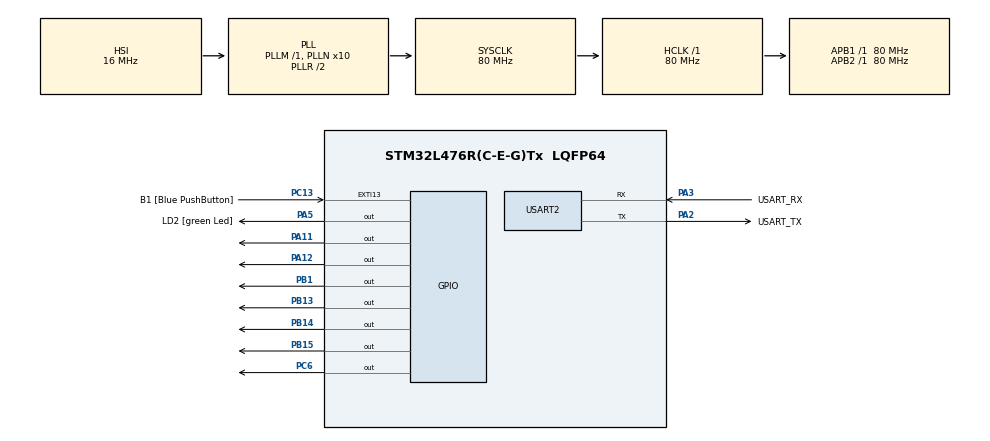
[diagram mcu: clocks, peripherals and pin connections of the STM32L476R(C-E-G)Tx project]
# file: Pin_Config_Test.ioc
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Mcu.Family=STM32L4
Mcu.Name=STM32L476R(C-E-G)Tx
Mcu.Package=LQFP64
NVIC.PriorityGroup=NVIC_PRIORITYGROUP_4
PA11.Signal=GPIO_Output
PA12.Signal=GPIO_Output
PA13\ (JTMS-SWDIO).GPIO_Label=TMS
PA13\ (JTMS-SWDIO).Mode=Serial_Wire
PA13\ (JTMS-SWDIO).Signal=SYS_JTMS-SWDIO
PA14\ (JTCK-SWCLK).GPIO_Label=TCK
PA14\ (JTCK-SWCLK).Mode=Serial_Wire
PA14\ (JTCK-SWCLK).Signal=SYS_JTCK-SWCLK
PA2.GPIO_Label=USART_TX
PA2.GPIO_Mode=GPIO_MODE_AF_PP
PA2.GPIO_PuPd=GPIO_NOPULL
PA2.GPIO_Speed=GPIO_SPEED_FREQ_VERY_HIGH
PA2.Mode=Asynchronous
PA2.Signal=USART2_TX
PA3.GPIO_Label=USART_RX
PA3.GPIO_Mode=GPIO_MODE_AF_PP
PA3.GPIO_PuPd=GPIO_NOPULL
PA3.GPIO_Speed=GPIO_SPEED_FREQ_VERY_HIGH
PA3.Mode=Asynchronous
PA3.Signal=USART2_RX
PA5.GPIO_Label=LD2 [green Led]
PA5.GPIO_ModeDefaultOutputPP=GPIO_MODE_OUTPUT_PP
PA5.GPIO_PuPd=GPIO_NOPULL
PA5.GPIO_Speed=GPIO_SPEED_FREQ_LOW
PA5.Signal=GPIO_Output
PB1.Signal=GPIO_Output
PB13.Signal=GPIO_Output
PB14.Signal=GPIO_Output
PB15.Signal=GPIO_Output
PB3\ (JTDO-TRACESWO).GPIO_Label=SWO
PB3\ (JTDO-TRACESWO).Signal=SYS_JTDO-SWO
PC13.GPIO_Label=B1 [Blue PushButton]
PC13.GPIO_ModeDefaultEXTI=GPIO_MODE_IT_FALLING
PC13.GPIO_PuPd=GPIO_NOPULL
PC13.Signal=GPXTI13
PC14-OSC32_IN\ (PC14).Mode=LSE-External-Oscillator
PC14-OSC32_IN\ (PC14).Signal=RCC_OSC32_IN
PC15-OSC32_OUT\ (PC15).Mode=LSE-External-Oscillator
PC15-OSC32_OUT\ (PC15).Signal=RCC_OSC32_OUT
PC6.Signal=GPIO_Output
PH0-OSC_IN\ (PH0).Signal=RCC_OSC_IN
PH1-OSC_OUT\ (PH1).Signal=RCC_OSC_OUT
ProjectManager.HeapSize=0x200
ProjectManager.StackSize=0x400
ProjectManager.TargetToolchain=STM32CubeIDE
RCC.ADCFreq_Value=64000000
RCC.AHBFreq_Value=80000000
RCC.APB1Freq_Value=80000000
RCC.APB1TimFreq_Value=80000000
RCC.APB2Freq_Value=80000000
RCC.APB2TimFreq_Value=80000000
RCC.CortexFreq_Value=80000000
RCC.HCLKFreq_Value=80000000
RCC.HSE_VALUE=8000000
RCC.HSI_VALUE=16000000
RCC.MSI_VALUE=4000000
RCC.PLLN=10
RCC.PLLSourceVirtual=RCC_PLLSOURCE_HSI
RCC.PREFETCH_ENABLE=1
RCC.SYSCLKFreq_VALUE=80000000
RCC.SYSCLKSource=RCC_SYSCLKSOURCE_PLLCLK
RCC.USBFreq_Value=64000000
RCC.VCOOutputFreq_Value=160000000
USART2.VirtualMode-Asynchronous=VM_ASYNC
board=NUCLEO-L476RG

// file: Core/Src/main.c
/* USER CODE BEGIN Header */
/**
  ******************************************************************************
  * @file           : main.c
  * @brief          : GPIO toggling for 250ms high/low signal
  ******************************************************************************
  */
/* USER CODE END Header */
#include "main.h"

/* USER CODE BEGIN Includes */
#include <stdio.h>
/* USER CODE END Includes */

UART_HandleTypeDef huart2;

/* USER CODE BEGIN PV */
/* Array of GPIO ports and pins to toggle */
typedef struct {
  GPIO_TypeDef* Port;
  uint16_t Pin;
  char* Name;
} GPIO_Def;

GPIO_Def gpio_list[] = {
  {GPIOA, GPIO_PIN_0, "PA0"},
  {GPIOA, GPIO_PIN_1, "PA1"},
  {GPIOA, GPIO_PIN_2, "PA2"},
  {GPIOA, GPIO_PIN_3, "PA3"},
  {GPIOB, GPIO_PIN_0, "PB0"},
  {GPIOC, GPIO_PIN_0, "PC0"},
  {GPIOC, GPIO_PIN_1, "PC1"},
  {GPIOC, GPIO_PIN_2, "PC2"},
  {GPIOC, GPIO_PIN_3, "PC3"}
};

const uint32_t gpio_count = sizeof(gpio_list) / sizeof(GPIO_Def);
/* USER CODE END PV */

void SystemClock_Config(void);
static void MX_GPIO_Init(void);
static void MX_USART2_UART_Init(void);
/* USER CODE BEGIN PFP */
void ToggleGPIO(void);
/* USER CODE END PFP */

int main(void)
{

  /* USER CODE BEGIN 1 */

	int delayTimeOn = 2000;
	int delayTimeOff = 2000;
  /* USER CODE END 1 */

  /* MCU Configuration--------------------------------------------------------*/

  /* Reset of all peripherals, Initializes the Flash interface and the Systick. */
  HAL_Init();

  /* Configure the system clock */
  SystemClock_Config();

  /* Initialize all configured peripherals */
  MX_GPIO_Init();
  MX_USART2_UART_Init();

  /* Infinite loop */
  while (1)
  {
	  /* 控制 PA11 */
	          HAL_GPIO_WritePin(GPIOA, GPIO_PIN_11, GPIO_PIN_SET); // PA11 高电平
	          HAL_UART_Transmit(&huart2, (uint8_t *)"PA11 HIGH\r\n", 12, HAL_MAX_DELAY); // USART 发送状态
	          HAL_Delay(delayTimeOn);
	          HAL_GPIO_WritePin(GPIOA, GPIO_PIN_11, GPIO_PIN_RESET); // PA11 低电平
	          HAL_UART_Transmit(&huart2, (uint8_t *)"PA11 LOW\r\n\n", 11, HAL_MAX_DELAY); // USART 发送状态
	          HAL_Delay(delayTimeOff);

	          /* 控制 PA12 */
	          HAL_GPIO_WritePin(GPIOA, GPIO_PIN_12, GPIO_PIN_SET); // PA12 高电平
	          HAL_UART_Transmit(&huart2, (uint8_t *)"PA12 HIGH\r\n", 12, HAL_MAX_DELAY); // USART 发送状态
	          HAL_Delay(delayTimeOn);
	          HAL_GPIO_WritePin(GPIOA, GPIO_PIN_12, GPIO_PIN_RESET); // PA12 低电平
	          HAL_UART_Transmit(&huart2, (uint8_t *)"PA12 LOW\r\n\n", 11, HAL_MAX_DELAY); // USART 发送状态
	          HAL_Delay(delayTimeOff);

	          /* 控制 PC6 */
	          HAL_GPIO_WritePin(GPIOB, GPIO_PIN_1, GPIO_PIN_SET); // PC6 高电平
	          HAL_UART_Transmit(&huart2, (uint8_t *)"PB1 HIGH\r\n", 11, HAL_MAX_DELAY); // USART 发送状态
	          HAL_Delay(delayTimeOn);
	          HAL_GPIO_WritePin(GPIOB, GPIO_PIN_1, GPIO_PIN_RESET); // PC6 低电平
	          HAL_UART_Transmit(&huart2, (uint8_t *)"PB1 LOW\r\n\n", 10, HAL_MAX_DELAY); // USART 发送状态
	          HAL_Delay(delayTimeOff);

	          /* 控制 PB13 */
	          HAL_GPIO_WritePin(GPIOB, GPIO_PIN_13, GPIO_PIN_SET); // PB13 高电平
	          HAL_UART_Transmit(&huart2, (uint8_t *)"PB13 HIGH\r\n", 12, HAL_MAX_DELAY); // USART 发送状态
	          HAL_Delay(delayTimeOn);
	          HAL_GPIO_WritePin(GPIOB, GPIO_PIN_13, GPIO_PIN_RESET); // PB13 低电平
	          HAL_UART_Transmit(&huart2, (uint8_t *)"PB13 LOW\r\n\n", 11, HAL_MAX_DELAY); // USART 发送状态
	          HAL_Delay(delayTimeOff);

	          /* 控制 PB14 */
	          HAL_GPIO_WritePin(GPIOB, GPIO_PIN_14, GPIO_PIN_SET); // PB14 高电平
	          HAL_UART_Transmit(&huart2, (uint8_t *)"PB14 HIGH\r\n", 12, HAL_MAX_DELAY); // USART 发送状态
	          HAL_Delay(delayTimeOn);
	          HAL_GPIO_WritePin(GPIOB, GPIO_PIN_14, GPIO_PIN_RESET); // PB14 低电平
	          HAL_UART_Transmit(&huart2, (uint8_t *)"PB14 LOW\r\n\n", 11, HAL_MAX_DELAY); // USART 发送状态
	          HAL_Delay(delayTimeOff);

	          /* 控制 PB15 */
	          HAL_GPIO_WritePin(GPIOB, GPIO_PIN_15, GPIO_PIN_SET); // PB15 高电平
	          HAL_UART_Transmit(&huart2, (uint8_t *)"PB15 HIGH\r\n", 12, HAL_MAX_DELAY); // USART 发送状态
	          HAL_Delay(delayTimeOn);
	          HAL_GPIO_WritePin(GPIOB, GPIO_PIN_15, GPIO_PIN_RESET); // PB15 低电平
	          HAL_UART_Transmit(&huart2, (uint8_t *)"PB15 LOW\r\n\n", 11, HAL_MAX_DELAY); // USART 发送状态
	          HAL_Delay(delayTimeOff);
  }
}

void SystemClock_Config(void)
{
  RCC_OscInitTypeDef RCC_OscInitStruct = {0};
  RCC_ClkInitTypeDef RCC_ClkInitStruct = {0};

  /** Configure the main internal regulator output voltage
  */
  if (HAL_PWREx_ControlVoltageScaling(PWR_REGULATOR_VOLTAGE_SCALE1) != HAL_OK)
  {
    Error_Handler();
  }

  /** Initializes the RCC Oscillators according to the specified parameters
  * in the RCC_OscInitTypeDef structure.
  */
  RCC_OscInitStruct.OscillatorType = RCC_OSCILLATORTYPE_HSI;
  RCC_OscInitStruct.HSIState = RCC_HSI_ON;
  RCC_OscInitStruct.HSICalibrationValue = RCC_HSICALIBRATION_DEFAULT;
  RCC_OscInitStruct.PLL.PLLState = RCC_PLL_ON;
  RCC_OscInitStruct.PLL.PLLSource = RCC_PLLSOURCE_HSI;
  RCC_OscInitStruct.PLL.PLLM = 1;
  RCC_OscInitStruct.PLL.PLLN = 10;
  RCC_OscInitStruct.PLL.PLLP = RCC_PLLP_DIV7;
  RCC_OscInitStruct.PLL.PLLQ = RCC_PLLQ_DIV2;
  RCC_OscInitStruct.PLL.PLLR = RCC_PLLR_DIV2;
  if (HAL_RCC_OscConfig(&RCC_OscInitStruct) != HAL_OK)
  {
    Error_Handler();
  }

  /** Initializes the CPU, AHB and APB buses clocks
  */
  RCC_ClkInitStruct.ClockType = RCC_CLOCKTYPE_HCLK|RCC_CLOCKTYPE_SYSCLK
                              |RCC_CLOCKTYPE_PCLK1|RCC_CLOCKTYPE_PCLK2;
  RCC_ClkInitStruct.SYSCLKSource = RCC_SYSCLKSOURCE_PLLCLK;
  RCC_ClkInitStruct.AHBCLKDivider = RCC_SYSCLK_DIV1;
  RCC_ClkInitStruct.APB1CLKDivider = RCC_HCLK_DIV1;
  RCC_ClkInitStruct.APB2CLKDivider = RCC_HCLK_DIV1;

  if (HAL_RCC_ClockConfig(&RCC_ClkInitStruct, FLASH_LATENCY_4) != HAL_OK)
  {
    Error_Handler();
  }
}

static void MX_USART2_UART_Init(void)
{

  huart2.Instance = USART2;
  huart2.Init.BaudRate = 115200;
  huart2.Init.WordLength = UART_WORDLENGTH_8B;
  huart2.Init.StopBits = UART_STOPBITS_1;
  huart2.Init.Parity = UART_PARITY_NONE;
  huart2.Init.Mode = UART_MODE_TX_RX;
  huart2.Init.HwFlowCtl = UART_HWCONTROL_NONE;
  huart2.Init.OverSampling = UART_OVERSAMPLING_16;
  huart2.Init.OneBitSampling = UART_ONE_BIT_SAMPLE_DISABLE;
  huart2.AdvancedInit.AdvFeatureInit = UART_ADVFEATURE_NO_INIT;
  if (HAL_UART_Init(&huart2) != HAL_OK)
  {
    Error_Handler();
  }

}

static void MX_GPIO_Init(void)
{
  GPIO_InitTypeDef GPIO_InitStruct = {0};

  /* GPIO Ports Clock Enable */
  __HAL_RCC_GPIOC_CLK_ENABLE();
  __HAL_RCC_GPIOH_CLK_ENABLE();
  __HAL_RCC_GPIOA_CLK_ENABLE();
  __HAL_RCC_GPIOB_CLK_ENABLE();

  /*Configure GPIO pin Output Level */
  HAL_GPIO_WritePin(GPIOA, LD2_Pin|GPIO_PIN_11|GPIO_PIN_12, GPIO_PIN_RESET);

  /*Configure GPIO pin Output Level */
  HAL_GPIO_WritePin(GPIOB, GPIO_PIN_1|GPIO_PIN_13|GPIO_PIN_14|GPIO_PIN_15, GPIO_PIN_RESET);

  /*Configure GPIO pin Output Level */
  HAL_GPIO_WritePin(GPIOC, GPIO_PIN_6, GPIO_PIN_RESET);

  /*Configure GPIO pin : B1_Pin */
  GPIO_InitStruct.Pin = B1_Pin;
  GPIO_InitStruct.Mode = GPIO_MODE_IT_FALLING;
  GPIO_InitStruct.Pull = GPIO_NOPULL;
  HAL_GPIO_Init(B1_GPIO_Port, &GPIO_InitStruct);

  /*Configure GPIO pins : LD2_Pin PA11 PA12 */
  GPIO_InitStruct.Pin = LD2_Pin|GPIO_PIN_11|GPIO_PIN_12;
  GPIO_InitStruct.Mode = GPIO_MODE_OUTPUT_PP;
  GPIO_InitStruct.Pull = GPIO_NOPULL;
  GPIO_InitStruct.Speed = GPIO_SPEED_FREQ_LOW;
  HAL_GPIO_Init(GPIOA, &GPIO_InitStruct);

  /*Configure GPIO pins : PB1 PB13 PB14 PB15 */
  GPIO_InitStruct.Pin = GPIO_PIN_1|GPIO_PIN_13|GPIO_PIN_14|GPIO_PIN_15;
  GPIO_InitStruct.Mode = GPIO_MODE_OUTPUT_PP;
  GPIO_InitStruct.Pull = GPIO_NOPULL;
  GPIO_InitStruct.Speed = GPIO_SPEED_FREQ_LOW;
  HAL_GPIO_Init(GPIOB, &GPIO_InitStruct);

  /*Configure GPIO pin : PC6 */
  GPIO_InitStruct.Pin = GPIO_PIN_6;
  GPIO_InitStruct.Mode = GPIO_MODE_OUTPUT_PP;
  GPIO_InitStruct.Pull = GPIO_NOPULL;
  GPIO_InitStruct.Speed = GPIO_SPEED_FREQ_LOW;
  HAL_GPIO_Init(GPIOC, &GPIO_InitStruct);

}

void Error_Handler(void)
{
  __disable_irq();
  while (1)
  {
  }
}
